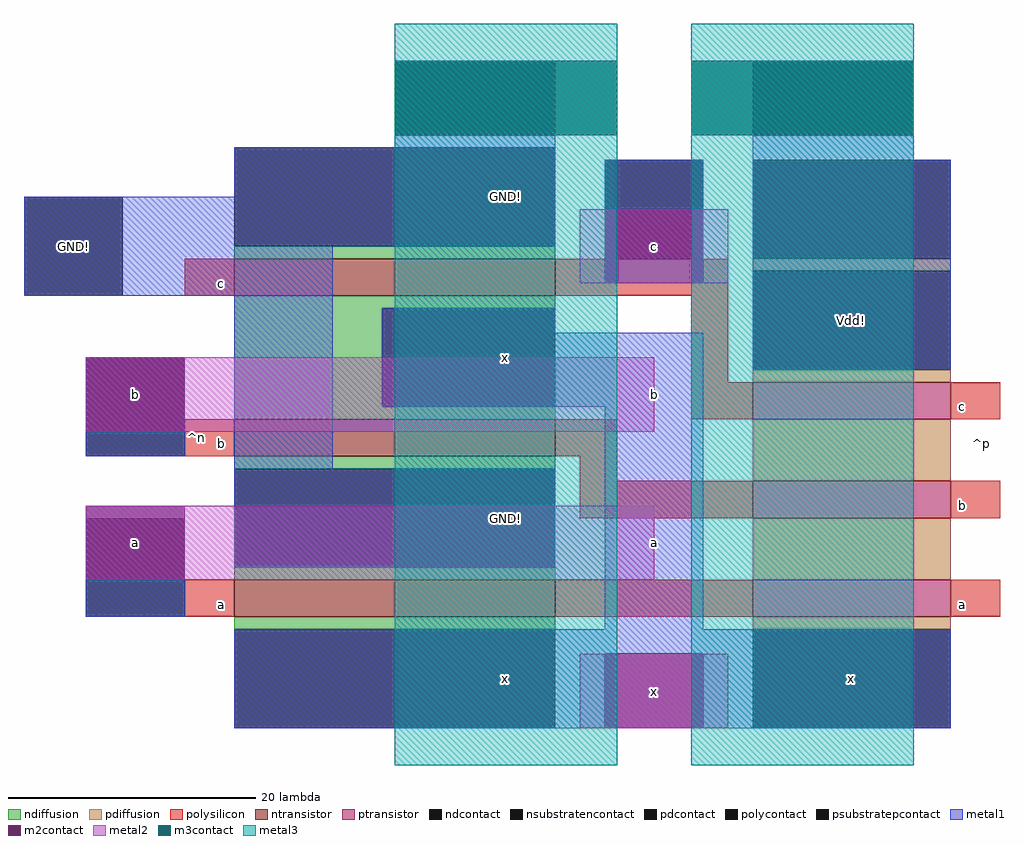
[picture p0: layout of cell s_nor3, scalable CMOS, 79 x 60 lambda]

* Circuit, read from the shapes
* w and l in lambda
.subckt s_nor3 GND! Vdd! a b c x
M1 GND! a x GND! nfet w=26 l=3
M2 x b GND! GND! nfet w=26 l=3
M3 GND! c x GND! nfet w=26 l=3
M4 n1 a x Vdd! pfet w=16 l=3
M5 n2 b n1 Vdd! pfet w=16 l=3
M6 Vdd! c n2 Vdd! pfet w=16 l=3
.ends

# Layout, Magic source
magic
tech scmos
<< ndiffusion >>
rect -34 459 -8 460
rect -34 455 -8 456
rect -34 447 -22 455
rect -34 446 -8 447
rect -34 442 -8 443
rect -34 433 -8 434
rect -34 429 -8 430
<< pdiffusion >>
rect 8 458 24 459
rect 8 449 24 450
rect 8 441 24 446
rect 8 433 24 438
rect 8 429 24 430
<< ntransistor >>
rect -34 456 -8 459
rect -34 443 -8 446
rect -34 430 -8 433
<< ptransistor >>
rect 8 446 24 449
rect 8 438 24 441
rect 8 430 24 433
<< polysilicon >>
rect -38 456 -34 459
rect -8 456 6 459
rect 3 449 6 456
rect 3 446 8 449
rect 24 446 28 449
rect -38 443 -34 446
rect -8 443 -3 446
rect -6 441 -3 443
rect -6 438 8 441
rect 24 438 28 441
rect -38 430 -34 433
rect -8 430 8 433
rect 24 430 28 433
<< ndcontact >>
rect -34 460 -8 468
rect -22 447 -8 455
rect -34 434 -8 442
rect -34 421 -8 429
<< pdcontact >>
rect 8 450 24 458
rect 8 421 24 429
<< psubstratepcontact >>
rect -51 456 -43 464
<< nsubstratencontact >>
rect 8 459 24 467
<< polycontact >>
rect -4 459 4 467
rect -46 443 -38 451
rect -46 430 -38 438
<< metal1 >>
rect -21 468 -8 469
rect -34 464 -8 468
rect 8 467 21 469
rect -51 460 -8 464
rect -4 463 4 467
rect -51 456 -26 460
rect -46 443 -38 445
rect -34 442 -26 456
rect -22 453 -8 455
rect -22 447 4 453
rect 8 450 24 467
rect -34 434 -8 442
rect -46 430 -38 433
rect -4 429 4 447
rect -34 427 24 429
rect -34 421 -4 427
rect 4 421 24 427
<< m2contact >>
rect -21 469 -8 475
rect 8 469 21 475
rect -4 457 4 463
rect -46 445 -38 451
rect -46 433 -38 439
rect -4 421 4 427
<< metal2 >>
rect -6 457 6 463
rect -46 445 0 451
rect -46 433 0 439
rect -6 421 6 427
<< m3contact >>
rect -21 469 -3 475
rect 3 469 21 475
<< metal3 >>
rect -21 418 -3 478
rect 3 418 21 478
<< labels >>
rlabel polysilicon -35 444 -35 444 1 b
rlabel polysilicon -35 431 -35 431 1 a
rlabel polysilicon -35 457 -35 457 1 c
rlabel metal2 0 433 0 439 7 a
rlabel metal2 0 445 0 451 7 b
rlabel polysilicon 25 431 25 431 7 a
rlabel polysilicon 25 439 25 439 7 b
rlabel polysilicon 25 447 25 447 7 c
rlabel metal1 -12 451 -12 451 5 x
rlabel metal1 -12 425 -12 425 1 x
rlabel metal1 -12 438 -12 438 5 GND!
rlabel metal1 -12 464 -12 464 5 GND!
rlabel metal1 16 425 16 425 1 x
rlabel metal2 0 421 0 427 1 x
rlabel metal1 16 454 16 454 1 Vdd!
rlabel metal2 0 457 0 463 3 c
rlabel metal1 -47 460 -47 460 3 GND!
rlabel space -52 420 -22 469 7 ^n
rlabel space 24 421 29 467 3 ^p
rlabel metal2 -42 448 -42 448 1 b
rlabel metal2 -42 436 -42 436 1 a
<< end >>
